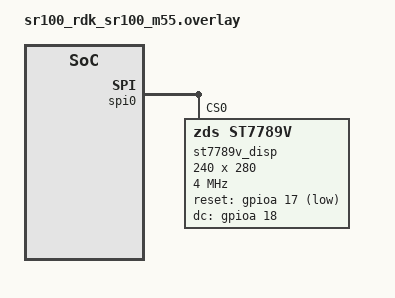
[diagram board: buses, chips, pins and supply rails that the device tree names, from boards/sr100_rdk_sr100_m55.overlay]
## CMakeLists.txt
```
cmake_minimum_required(VERSION 3.20.0)

# Custom "zds,st7789v" devicetree binding (same as Lab 11/12/13) -- DTS_ROOT
# must be extended BEFORE find_package(Zephyr...) runs, or the
# devicetree compiler won't find it.
list(APPEND DTS_ROOT ${CMAKE_CURRENT_SOURCE_DIR})

find_package(Zephyr REQUIRED HINTS $ENV{ZEPHYR_BASE})
project(lab14_heartbeat_watchdog_host)

target_sources(app PRIVATE src/main.c)
target_include_directories(app PRIVATE include)
```

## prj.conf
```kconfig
CONFIG_MBOX=y
CONFIG_SPI=y
CONFIG_GPIO=y
# No CONFIG_DISPLAY / CONFIG_CHARACTER_FRAMEBUFFER / CONFIG_ST7789V -- same
# raw-SPI approach as Lab 11/12/13 (see Lab 11's prj.conf comment).
CONFIG_MAIN_STACK_SIZE=4096
# ns16550_uart1 (M55's only UART/console) is disabled in the devicetree
# overlay because SPI0 reuses its pins -- see Lab 11's prj.conf comment
# for why CONFIG_UART_CONSOLE=n/CONFIG_CONSOLE=n (and NOT CONFIG_SERIAL=n)
# is the correct fix. M55 never sends console commands in this lab anyway
# -- all commands are M4-local (see remote/src/main.c).
CONFIG_UART_CONSOLE=n
CONFIG_CONSOLE=n
CONFIG_LOG=y
CONFIG_LOG_DEFAULT_LEVEL=3
CONFIG_PRINTK=y
```

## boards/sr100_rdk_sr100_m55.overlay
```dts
#include <zephyr/dt-bindings/gpio/gpio.h>

/* Lab 14 reuses this TFT wiring UNCHANGED from Lab 11/12/13 -- no new
 * hardware. M55's only job in this lab is drawing the heartbeat/watchdog
 * status on the same ST7789V3 panel on SPI0. */

/* ipc0 shared-memory-size must match the M4 overlay in remote/boards/ exactly. */
&ipc0 {
	shared-memory-size = <0x400>;
};

/*
 * This lab doesn't touch M4's I2C0 sensors or M55's shared &i2c1 bus at
 * all -- there is no sensor reading in Lab 14. &i2c1 is disabled anyway
 * for consistency with the rest of the curriculum (M55 never uses i2c1
 * in any lab) and because it's harmless.
 */
&i2c1 {
	status = "disabled";
};

&gpio_exp0 {
	status = "disabled";
};

&ov02c10 {
	status = "disabled";
};

/*
 * ST7789V3 1.69" 240x280 color TFT on M55's SPI0 -- identical setup to
 * Lab 11/12/13 (same panel, same wiring, same raw-SPI "zds,st7789v"
 * custom binding). See Lab 11's doc/README for the full rationale (why
 * raw SPI instead of Zephyr's in-tree display driver, the level-shifter
 * requirement, the SPI0 FIFO chunking, and the SPI0/UART1 console pin
 * conflict this creates).
 */
&ns16550_uart1 {
	status = "disabled";
};

&spi0 {
	#address-cells = <1>;
	#size-cells = <0>;
	status = "okay";
	pinctrl-0 = <&spi_mstr_mosi &spi_mstr_miso &spi_mstr_clk &spi_mstr_cs>;
	pinctrl-names = "default";

	st7789v_disp: st7789v@0 {
		compatible = "zds,st7789v";
		reg = <0>;
		spi-max-frequency = <4000000>;
		reset-gpios = <&gpioa 17 GPIO_ACTIVE_LOW>;  /* SoC GPIO17, J24 pin 3 - through level shifter */
		dc-gpios = <&gpioa 18 GPIO_ACTIVE_HIGH>;    /* SoC GPIO18, J24 pin 4 - through level shifter */
		width = <240>;
		height = <280>;
		x-offset = <0>;
		y-offset = <20>;
	};
};
```

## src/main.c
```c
/*
 * Lab 14: Heartbeat Watchdog (HOST, M55)
 *
 * Same ST7789V3 TFT hardware setup as Lab 11/12/13 (identical panel,
 * identical SPI0/RESET/DC wiring, identical raw-SPI driver -- see this
 * lab's doc/14_heartbeat_watchdog_kr.md for the full pin table and
 * level-shifter rationale, reproduced there rather than only in the
 * earlier labs' docs, since each lab in this curriculum is meant to be
 * buildable and understandable on its own). This lab does NOT use the
 * AHT20/BMP280 sensors from Lab 12/13 -- the subject here is the
 * heartbeat/watchdog IPC pattern itself, not sensor telemetry, so
 * &i2c0 is simply left alone (M55 never touched it in any lab anyway).
 *
 * WHAT M55 DOES: `Watchdog_Task` waits for a heartbeat message from M4
 * with a bounded timeout. Every time one arrives, it records "last seen"
 * and shows the sequence number. If WATCHDOG_TIMEOUT_MS passes with no
 * heartbeat at all, the state flips to TIMEOUT and the screen turns red
 * -- this is the entire watchdog logic, and it cannot distinguish "M4 is
 * genuinely hung/crashed" from "M4 is deliberately not sending" (see
 * M4's main.c for how this lab simulates the latter for a repeatable
 * demo). Recovery back to OK is automatic the moment a heartbeat is
 * received again -- no operator action needed on M55's side.
 *
 * NOT IMPLEMENTED (deliberately, see doc): actually resetting M4 when
 * the watchdog trips. The exact SDK/HAL API for M55 to force a runtime
 * software reset of M4 was never confirmed available in this curriculum
 * (flagged as an open question as far back as the original lab list) --
 * rather than guess at an unverified API, this lab only DETECTS and
 * DISPLAYS the timeout, which is the part of the pattern that could be
 * fully implemented and verified on real hardware.
 */

#include <zephyr/kernel.h>
#include <zephyr/device.h>
#include <zephyr/devicetree.h>
#include <zephyr/drivers/spi.h>
#include <zephyr/drivers/gpio.h>
#include <zephyr/drivers/mbox.h>
#include <zephyr/logging/log.h>
#include <zephyr/sys/util.h>
#include <stdbool.h>
#include <stdio.h>
#include <string.h>
#include "ipc_common.h"

LOG_MODULE_REGISTER(lab14_host, CONFIG_LOG_DEFAULT_LEVEL);

#define TASK_STACK_SIZE 2048
#define TASK_PRIORITY   4

/* How often Watchdog_Task checks for a missed heartbeat when none has
 * arrived. Must be well under WATCHDOG_TIMEOUT_MS so the timeout is
 * detected promptly rather than only on the next lucky wakeup. */
#define WATCHDOG_CHECK_PERIOD_MS 200

/* M4 sends a heartbeat every 300ms (see M4's HEARTBEAT_PERIOD_MS). 1200ms
 * is 4 missed beats -- generous enough to tolerate one-off scheduling
 * jitter, short enough that a real trip is visible within ~1 second of
 * the "1 <seconds>" pause command taking effect. */
#define WATCHDOG_TIMEOUT_MS 1200

K_THREAD_STACK_DEFINE(task_stack, TASK_STACK_SIZE);
static struct k_thread task_data;

K_MSGQ_DEFINE(hb_msgq, sizeof(struct ipc14_heartbeat_payload), 4, 4);

#define DISP_NODE DT_NODELABEL(st7789v_disp)

#define PANEL_WIDTH   DT_PROP(DISP_NODE, width)
#define PANEL_HEIGHT  DT_PROP(DISP_NODE, height)
#define X_OFFSET      DT_PROP(DISP_NODE, x_offset)
#define Y_OFFSET      DT_PROP(DISP_NODE, y_offset)

#define ST7789_SWRESET   0x01
#define ST7789_SLPOUT    0x11
#define ST7789_COLMOD    0x3A
#define ST7789_MADCTL    0x36
#define ST7789_INVON     0x21
#define ST7789_NORON     0x13
#define ST7789_DISPON    0x29
#define ST7789_CASET     0x2A
#define ST7789_RASET     0x2B
#define ST7789_RAMWR     0x2C
#define ST7789_PORCTRL   0xB2
#define ST7789_GCTRL     0xB7
#define ST7789_VCOMS     0xBB
#define ST7789_LCMCTRL   0xC0
#define ST7789_VDVVRHEN  0xC2
#define ST7789_VRHS      0xC3
#define ST7789_VDVS      0xC4
#define ST7789_FRCTRL2   0xC6
#define ST7789_PWCTRL1   0xD0
#define ST7789_PVGAMCTRL 0xE0
#define ST7789_NVGAMCTRL 0xE1

#define COLOR_BLACK   0x0000
#define COLOR_WHITE   0xFFFF
#define COLOR_RED     0xF800
#define COLOR_GREEN   0x07E0
#define COLOR_YELLOW  0xFFE0
#define COLOR_GRAY    0x8410

static const struct spi_dt_spec spi_spec =
	SPI_DT_SPEC_GET(DISP_NODE, SPI_WORD_SET(8) | SPI_TRANSFER_MSB, 0);
static const struct gpio_dt_spec reset_spec = GPIO_DT_SPEC_GET(DISP_NODE, reset_gpios);
static const struct gpio_dt_spec dc_spec = GPIO_DT_SPEC_GET(DISP_NODE, dc_gpios);

struct glyph {
	char ch;
	uint8_t cols[5];
};

/* Same 5x7 font table as Lab 11/12/13 -- unchanged, no new characters
 * needed for this lab's own strings. */
static const struct glyph font5x7[] = {
	{' ', {0x00, 0x00, 0x00, 0x00, 0x00}},
	{'-', {0x08, 0x08, 0x08, 0x08, 0x08}},
	{':', {0x00, 0x36, 0x36, 0x00, 0x00}},
	{'0', {0x3E, 0x51, 0x49, 0x45, 0x3E}},
	{'1', {0x00, 0x42, 0x7F, 0x40, 0x00}},
	{'2', {0x62, 0x51, 0x49, 0x49, 0x46}},
	{'3', {0x22, 0x41, 0x49, 0x49, 0x36}},
	{'4', {0x18, 0x14, 0x12, 0x7F, 0x10}},
	{'5', {0x27, 0x45, 0x45, 0x45, 0x39}},
	{'6', {0x3C, 0x4A, 0x49, 0x49, 0x30}},
	{'7', {0x01, 0x71, 0x09, 0x05, 0x03}},
	{'8', {0x36, 0x49, 0x49, 0x49, 0x36}},
	{'9', {0x06, 0x49, 0x49, 0x29, 0x1E}},
	{'A', {0x7E, 0x11, 0x11, 0x11, 0x7E}},
	{'B', {0x7F, 0x49, 0x49, 0x49, 0x36}},
	{'C', {0x3E, 0x41, 0x41, 0x41, 0x22}},
	{'D', {0x7F, 0x41, 0x41, 0x22, 0x1C}},
	{'E', {0x7F, 0x49, 0x49, 0x49, 0x41}},
	{'G', {0x3E, 0x41, 0x49, 0x49, 0x7A}},
	{'H', {0x7F, 0x08, 0x08, 0x08, 0x7F}},
	{'I', {0x00, 0x41, 0x7F, 0x41, 0x00}},
	{'K', {0x7F, 0x08, 0x14, 0x22, 0x41}},
	{'L', {0x7F, 0x40, 0x40, 0x40, 0x40}},
	{'M', {0x7F, 0x02, 0x0C, 0x02, 0x7F}},
	{'N', {0x7F, 0x02, 0x04, 0x08, 0x7F}},
	{'O', {0x3E, 0x41, 0x41, 0x41, 0x3E}},
	{'P', {0x7F, 0x09, 0x09, 0x09, 0x06}},
	{'Q', {0x3E, 0x41, 0x51, 0x21, 0x5E}},
	{'R', {0x7F, 0x09, 0x19, 0x29, 0x46}},
	{'S', {0x46, 0x49, 0x49, 0x49, 0x31}},
	{'T', {0x01, 0x01, 0x7F, 0x01, 0x01}},
	{'U', {0x3F, 0x40, 0x40, 0x40, 0x3F}},
	{'V', {0x1F, 0x20, 0x40, 0x20, 0x1F}},
	{'W', {0x3F, 0x40, 0x38, 0x40, 0x3F}},
	{'X', {0x63, 0x14, 0x08, 0x14, 0x63}},
	{'Y', {0x07, 0x08, 0x70, 0x08, 0x07}},
	{'Z', {0x61, 0x51, 0x49, 0x45, 0x43}},
};

static const uint8_t *glyph_lookup(char c)
{
	static const uint8_t blank[5] = {0x00, 0x00, 0x00, 0x00, 0x00};

	for (size_t i = 0; i < ARRAY_SIZE(font5x7); i++) {
		if (font5x7[i].ch == c) {
			return font5x7[i].cols;
		}
	}
	return blank;
}

#define ST7789_CHUNK_BYTES 8

static int st7789_send(int dc_value, const uint8_t *data, size_t len)
{
	int ret;

	gpio_pin_set_dt(&dc_spec, dc_value);

	while (len) {
		size_t chunk = MIN(len, ST7789_CHUNK_BYTES);
		struct spi_buf buf = { .buf = (void *)data, .len = chunk };
		struct spi_buf_set set = { .buffers = &buf, .count = 1 };

		ret = spi_write_dt(&spi_spec, &set);
		if (ret) {
			LOG_ERR("spi_write_dt(dc=%d, len=%zu) failed, ret=%d", dc_value, chunk, ret);
			return ret;
		}
		data += chunk;
		len -= chunk;
	}

	return 0;
}

static int st7789_write_cmd(uint8_t cmd)
{
	return st7789_send(0, &cmd, 1);
}

static int st7789_write_data(const uint8_t *data, size_t len)
{
	return st7789_send(1, data, len);
}

static int st7789_reset(void)
{
	int ret = gpio_pin_configure_dt(&reset_spec, GPIO_OUTPUT_INACTIVE);

	if (ret) {
		return ret;
	}
	k_sleep(K_MSEC(10));
	gpio_pin_set_dt(&reset_spec, 1);
	k_sleep(K_MSEC(10));
	gpio_pin_set_dt(&reset_spec, 0);
	k_sleep(K_MSEC(150));

	return 0;
}

struct st7789_init_cmd {
	uint8_t cmd;
	uint8_t num_args;
	uint8_t args[16];
	uint16_t delay_ms;
};

static const struct st7789_init_cmd init_seq[] = {
	{ ST7789_SWRESET,   0, {0}, 150 },
	{ ST7789_SLPOUT,    0, {0}, 255 },
	{ ST7789_COLMOD,    1, {0x55}, 10 },
	{ ST7789_PORCTRL,   5, {0x0C, 0x0C, 0x00, 0x33, 0x33}, 0 },
	{ ST7789_GCTRL,     1, {0x35}, 0 },
	{ ST7789_VCOMS,     1, {0x28}, 0 },
	{ ST7789_LCMCTRL,   1, {0x0C}, 0 },
	{ ST7789_VDVVRHEN,  2, {0x01, 0xFF}, 0 },
	{ ST7789_VRHS,      1, {0x10}, 0 },
	{ ST7789_VDVS,      1, {0x20}, 0 },
	{ ST7789_FRCTRL2,   1, {0x0F}, 0 },
	{ ST7789_PWCTRL1,   2, {0xA4, 0xA1}, 0 },
	{ ST7789_MADCTL,    1, {0x00}, 0 },
	{ ST7789_INVON,     0, {0}, 10 },
	{ ST7789_PVGAMCTRL, 14, {0xD0, 0x00, 0x02, 0x07, 0x0A, 0x28, 0x32, 0x44,
				 0x42, 0x06, 0x0E, 0x12, 0x14, 0x17}, 0 },
	{ ST7789_NVGAMCTRL, 14, {0xD0, 0x00, 0x02, 0x07, 0x05, 0x25, 0x2D, 0x44,
				 0x45, 0x10, 0x0E, 0x12, 0x13, 0x17}, 0 },
	{ ST7789_NORON,     0, {0}, 10 },
	{ ST7789_DISPON,    0, {0}, 100 },
};

static int st7789_init(void)
{
	int ret;

	for (size_t i = 0; i < ARRAY_SIZE(init_seq); i++) {
		ret = st7789_write_cmd(init_seq[i].cmd);
		if (ret) return ret;

		if (init_seq[i].num_args) {
			ret = st7789_write_data(init_seq[i].args, init_seq[i].num_args);
			if (ret) return ret;
		}
		if (init_seq[i].delay_ms) {
			k_sleep(K_MSEC(init_seq[i].delay_ms));
		}
	}

	return 0;
}

static int st7789_set_addr_window(uint16_t x0, uint16_t y0, uint16_t x1, uint16_t y1)
{
	uint16_t xs = x0 + X_OFFSET, xe = x1 + X_OFFSET;
	uint16_t ys = y0 + Y_OFFSET, ye = y1 + Y_OFFSET;
	uint8_t caset[4] = { xs >> 8, xs & 0xFF, xe >> 8, xe & 0xFF };
	uint8_t raset[4] = { ys >> 8, ys & 0xFF, ye >> 8, ye & 0xFF };
	int ret;

	ret = st7789_write_cmd(ST7789_CASET);
	if (ret) return ret;
	ret = st7789_write_data(caset, sizeof(caset));
	if (ret) return ret;

	ret = st7789_write_cmd(ST7789_RASET);
	if (ret) return ret;
	ret = st7789_write_data(raset, sizeof(raset));
	if (ret) return ret;

	return st7789_write_cmd(ST7789_RAMWR);
}

static int st7789_fill_rect(uint16_t x, uint16_t y, uint16_t w, uint16_t h, uint16_t color)
{
	uint8_t row[PANEL_WIDTH * 2];
	int ret;

	ret = st7789_set_addr_window(x, y, x + w - 1, y + h - 1);
	if (ret) return ret;

	for (uint16_t i = 0; i < w; i++) {
		row[i * 2] = color >> 8;
		row[i * 2 + 1] = color & 0xFF;
	}

	for (uint16_t line = 0; line < h; line++) {
		ret = st7789_write_data(row, (size_t)w * 2);
		if (ret) return ret;
	}

	return 0;
}

static int st7789_draw_char(uint16_t x, uint16_t y, char c, uint16_t fg, uint16_t bg, uint8_t scale)
{
	const uint8_t *glyph = glyph_lookup(c);
	uint8_t row[5 * 8 * 2];
	int ret;

	ret = st7789_set_addr_window(x, y, x + 5 * scale - 1, y + 7 * scale - 1);
	if (ret) return ret;

	for (uint8_t srow = 0; srow < 7; srow++) {
		for (uint8_t scol = 0; scol < 5; scol++) {
			bool on = (glyph[scol] >> srow) & 0x1;
			uint16_t color = on ? fg : bg;

			for (uint8_t sx = 0; sx < scale; sx++) {
				size_t idx = (scol * scale + sx) * 2;

				row[idx] = color >> 8;
				row[idx + 1] = color & 0xFF;
			}
		}
		for (uint8_t sy = 0; sy < scale; sy++) {
			ret = st7789_write_data(row, (size_t)5 * scale * 2);
			if (ret) return ret;
		}
	}

	return 0;
}

static int st7789_draw_string(uint16_t x, uint16_t y, const char *str, uint16_t fg, uint16_t bg, uint8_t scale)
{
	int ret;

	while (*str) {
		ret = st7789_draw_char(x, y, *str++, fg, bg, scale);
		if (ret) return ret;
		x += 6 * scale;
	}
	return 0;
}

static void draw_line(uint16_t x, uint16_t y, const char *text, uint16_t fg, size_t width)
{
	char padded[24];
	size_t len = strlen(text);

	if (width >= sizeof(padded)) {
		width = sizeof(padded) - 1;
	}
	if (len > width) {
		len = width;
	}
	memcpy(padded, text, len);
	for (size_t i = len; i < width; i++) {
		padded[i] = ' ';
	}
	padded[width] = '\0';

	st7789_draw_string(x, y, padded, fg, COLOR_BLACK, 2);
}

enum wd_state { WD_WAITING, WD_OK, WD_TIMEOUT };

static void draw_status(enum wd_state state)
{
	uint16_t icon_color;
	const char *label;

	switch (state) {
	case WD_OK:
		icon_color = COLOR_GREEN;
		label = "OK";
		break;
	case WD_TIMEOUT:
		icon_color = COLOR_RED;
		label = "TIMEOUT";
		break;
	default:
		icon_color = COLOR_GRAY;
		label = "WAIT";
		break;
	}

	st7789_fill_rect(10, 40, 16, 16, icon_color);
	draw_line(34, 40, label, COLOR_WHITE, 10);
}

/* ---------------------------------------------------------- watchdog */

static void rx_cb(const struct device *dev, mbox_channel_id_t channel_id,
		   void *user_data, struct mbox_msg *data)
{
	struct ipc14_heartbeat_payload hb;

	ARG_UNUSED(dev);
	ARG_UNUSED(channel_id);
	ARG_UNUSED(user_data);

	if (data->size < sizeof(hb)) {
		return;
	}
	memcpy(&hb, data->data, sizeof(hb));

	/* ISR-safe: pure memcpy + k_msgq_put, no drawing here -- exactly
	 * the same rule as every mbox callback in this curriculum since
	 * Lab 01. Watchdog_Task does the actual work. */
	k_msgq_put(&hb_msgq, &hb, K_NO_WAIT);
}

static void watchdog_task_entry(void *p1, void *p2, void *p3)
{
	struct ipc14_heartbeat_payload hb;
	enum wd_state state = WD_WAITING;
	int64_t last_seen_ms = 0;
	bool ever_seen = false;
	uint32_t trips = 0;
	char line[24];

	ARG_UNUSED(p1);
	ARG_UNUSED(p2);
	ARG_UNUSED(p3);

	LOG_INF("[Watchdog_Task] started, timeout=%dms", WATCHDOG_TIMEOUT_MS);

	if (!spi_is_ready_dt(&spi_spec)) {
		LOG_ERR("SPI0 device not ready - check devicetree status/overlay");
		return;
	}
	if (!gpio_is_ready_dt(&reset_spec) || !gpio_is_ready_dt(&dc_spec)) {
		LOG_ERR("RST/DC GPIO controller not ready");
		return;
	}
	if (gpio_pin_configure_dt(&dc_spec, GPIO_OUTPUT_INACTIVE)) {
		LOG_ERR("DC GPIO configure failed");
		return;
	}
	if (st7789_reset()) {
		LOG_ERR("Panel reset failed - check RST wiring");
		return;
	}
	if (st7789_init()) {
		LOG_ERR("ST7789 init failed (SPI write error) - check wiring / level shifter");
		return;
	}

	st7789_fill_rect(0, 0, PANEL_WIDTH, PANEL_HEIGHT, COLOR_BLACK);
	st7789_draw_string(10, 10, "LAB14 WATCHDOG", COLOR_YELLOW, COLOR_BLACK, 2);
	draw_status(WD_WAITING);
	draw_line(10, 90, "SEQ:--", COLOR_WHITE, 12);
	draw_line(10, 120, "TRIPS:0", COLOR_WHITE, 12);

	while (1) {
		int ret = k_msgq_get(&hb_msgq, &hb, K_MSEC(WATCHDOG_CHECK_PERIOD_MS));

		if (ret == 0) {
			last_seen_ms = k_uptime_get();
			ever_seen = true;
			if (state != WD_OK) {
				state = WD_OK;
				draw_status(state);
				LOG_INF("[Watchdog_Task] heartbeat resumed (seq=%u)", hb.seq);
			}
			snprintf(line, sizeof(line), "SEQ:%u", hb.seq);
			draw_line(10, 90, line, COLOR_WHITE, 12);
		} else if (ever_seen && state == WD_OK &&
			   (k_uptime_get() - last_seen_ms) >= WATCHDOG_TIMEOUT_MS) {
			state = WD_TIMEOUT;
			trips++;
			draw_status(state);
			snprintf(line, sizeof(line), "TRIPS:%u", trips);
			draw_line(10, 120, line, COLOR_WHITE, 12);
			LOG_WRN("[Watchdog_Task] no heartbeat in %dms - TRIPPED (trip #%u)",
				WATCHDOG_TIMEOUT_MS, trips);
		}
	}
}

int main(void)
{
	struct mbox_dt_spec rx_channel;

	LOG_INF("Lab14 Heartbeat Watchdog HOST - %s", CONFIG_BOARD_TARGET);

	/* Only rx is needed -- M55 never sends anything to M4 in this lab
	 * (contrast with every earlier lab, which always sent a response
	 * or command back). The heartbeat channel is one-way. */
	rx_channel = (struct mbox_dt_spec)MBOX_DT_SPEC_GET(DT_PATH(mbox_consumer), rx);

	if (mbox_register_callback_dt(&rx_channel, rx_cb, NULL)) {
		LOG_ERR("mbox_register_callback() failed");
		return -EIO;
	}
	if (mbox_set_enabled_dt(&rx_channel, 1)) {
		LOG_ERR("mbox_set_enabled() failed");
		return -EIO;
	}

	k_thread_create(&task_data, task_stack, K_THREAD_STACK_SIZEOF(task_stack),
			watchdog_task_entry, NULL, NULL, NULL, TASK_PRIORITY, 0, K_NO_WAIT);
	k_thread_name_set(&task_data, "Watchdog_Task");

	while (1) {
		k_sleep(K_FOREVER);
	}
	return 0;
}
```

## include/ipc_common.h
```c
/*
 * Lab 14: Heartbeat Watchdog -- shared M4/M55 message definitions.
 *
 * Only ONE message kind flows on this lab's mbox channel, always in the
 * same direction (M4 -> M55): a periodic heartbeat beacon. Unlike Lab 06
 * and Lab 13, which multiplex several message kinds on one channel with
 * a `type` tag, this lab deliberately does NOT use a tagged union -- a
 * tag only earns its keep when more than one message shape actually
 * shares a channel. Here there is exactly one, so the raw payload struct
 * is sent directly. See this lab's doc for that design note.
 */

#ifndef IPC_COMMON_H_
#define IPC_COMMON_H_

#include <zephyr/types.h>

/* M4 -> M55, every HEARTBEAT_PERIOD_MS (see M4's main.c). `seq` lets M55
 * (and the operator, via M4's console) tell a genuinely fresh heartbeat
 * apart from a stale/duplicated one, though this lab's mbox transport
 * does not actually duplicate or reorder messages -- `seq` is kept
 * mainly because a real-world watchdog beacon almost always carries one. */
struct ipc14_heartbeat_payload {
	uint32_t seq;
};

#endif /* IPC_COMMON_H_ */
```
